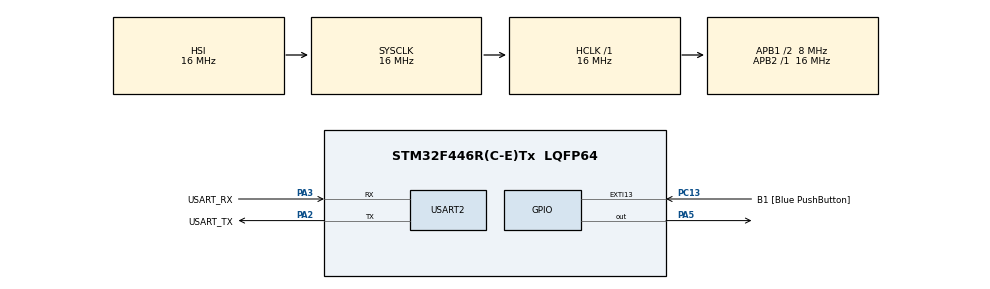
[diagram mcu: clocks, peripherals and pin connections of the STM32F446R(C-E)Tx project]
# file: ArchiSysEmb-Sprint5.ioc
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FREERTOS.Tasks01=defaultTask,0,128,StartDefaultTask,Default,NULL,Dynamic,NULL,NULL;UART_RX,-3,128,uartRx,Default,NULL,Dynamic,NULL,NULL;UART_TX,-3,128,uartTx,Default,NULL,Dynamic,NULL,NULL;MANAGE_LD2,-3,128,manageLD2,Default,NULL,Dynamic,NULL,NULL
FREERTOS.configUSE_NEWLIB_REENTRANT=1
Mcu.Family=STM32F4
Mcu.Name=STM32F446R(C-E)Tx
Mcu.Package=LQFP64
NVIC.PriorityGroup=NVIC_PRIORITYGROUP_4
NVIC.TIM1_UP_TIM10_IRQn=true\:15\:0\:false\:false\:true\:false\:false\:true\:true
NVIC.TIM3_IRQn=true\:5\:0\:false\:false\:true\:true\:true\:true\:true
NVIC.TimeBase=TIM1_UP_TIM10_IRQn
NVIC.TimeBaseIP=TIM1
PA13.GPIO_Label=TMS
PA13.Mode=Serial_Wire
PA13.Signal=SYS_JTMS-SWDIO
PA14.GPIO_Label=TCK
PA14.Mode=Serial_Wire
PA14.Signal=SYS_JTCK-SWCLK
PA2.GPIO_Label=USART_TX
PA2.Mode=Asynchronous
PA2.Signal=USART2_TX
PA3.GPIO_Label=USART_RX
PA3.Mode=Asynchronous
PA3.Signal=USART2_RX
PA5.Signal=GPIO_Output
PA6.Signal=S_TIM3_CH1
PB3.GPIO_Label=SWO
PB3.Signal=SYS_JTDO-SWO
PC13.GPIO_Label=B1 [Blue PushButton]
PC13.GPIO_ModeDefaultEXTI=GPIO_MODE_IT_FALLING
PC13.Signal=GPXTI13
PC14-OSC32_IN.Mode=LSE-External-Oscillator
PC14-OSC32_IN.Signal=RCC_OSC32_IN
PC15-OSC32_OUT.Mode=LSE-External-Oscillator
PC15-OSC32_OUT.Signal=RCC_OSC32_OUT
PH0-OSC_IN.Mode=HSE-External-Oscillator
PH0-OSC_IN.Signal=RCC_OSC_IN
PH1-OSC_OUT.Mode=HSE-External-Oscillator
PH1-OSC_OUT.Signal=RCC_OSC_OUT
ProjectManager.HeapSize=0x200
ProjectManager.StackSize=0x400
ProjectManager.TargetToolchain=STM32CubeIDE
RCC.48MHZClocksFreq_Value=84000000
RCC.AHBFreq_Value=16000000
RCC.APB1CLKDivider=RCC_HCLK_DIV2
RCC.APB1Freq_Value=8000000
RCC.APB1TimFreq_Value=16000000
RCC.APB2Freq_Value=16000000
RCC.APB2TimFreq_Value=16000000
RCC.CortexFreq_Value=16000000
RCC.FLatency-AdvancedSettings=FLASH_LATENCY_0
RCC.HCLKFreq_Value=16000000
RCC.HSE_VALUE=8000000
RCC.HSI_VALUE=16000000
RCC.PLLN=336
RCC.PLLP=RCC_PLLP_DIV4
RCC.SYSCLKFreq_VALUE=16000000
RCC.USBFreq_Value=168000000
RCC.VCOOutputFreq_Value=336000000
SH.S_TIM3_CH1.0=TIM3_CH1
TIM3.Period=9999
TIM3.Prescaler=1599
USART2.VirtualMode=VM_ASYNC
VP_FREERTOS_VS_CMSIS_V1.Mode=CMSIS_V1
VP_SYS_VS_tim1.Mode=TIM1
VP_TIM3_VS_ClockSourceINT.Mode=Internal
board=NUCLEO-F446RE

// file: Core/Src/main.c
/* USER CODE BEGIN Header */
/**
 ******************************************************************************
 * @file           : main.c
 * @brief          : Main program body
 ******************************************************************************
 * @attention
 *
 * Copyright (c) 2022 STMicroelectronics.
 * All rights reserved.
 *
 * This software is licensed under terms that can be found in the LICENSE file
 * in the root directory of this software component.
 * If no LICENSE file comes with this software, it is provided AS-IS.
 *
 ******************************************************************************
 */
/* USER CODE END Header */
#include "main.h"
#include "cmsis_os.h"

/* USER CODE BEGIN Includes */
#include <stdbool.h>

/* USER CODE END Includes */

TIM_HandleTypeDef htim3;

UART_HandleTypeDef huart2;

osThreadId defaultTaskHandle;
osThreadId UART_RXHandle;
osThreadId UART_TXHandle;
osThreadId MANAGE_LD2Handle;

void SystemClock_Config(void);
static void MX_GPIO_Init(void);
static void MX_USART2_UART_Init(void);
static void MX_TIM3_Init(void);
void StartDefaultTask(void const *argument);
void uartRx(void const *argument);
void uartTx(void const *argument);
void manageLD2(void const *argument);

int main(void) {

	/* MCU Configuration--------------------------------------------------------*/

	/* Reset of all peripherals, Initializes the Flash interface and the Systick. */
	HAL_Init();

	/* Configure the system clock */
	SystemClock_Config();

	/* Initialize all configured peripherals */
	MX_GPIO_Init();
	MX_USART2_UART_Init();
	MX_TIM3_Init();

	/* Create the thread(s) */
	/* definition and creation of defaultTask */
	osThreadDef(defaultTask, StartDefaultTask, osPriorityNormal, 0, 128);
	defaultTaskHandle = osThreadCreate(osThread(defaultTask), NULL);

	/* definition and creation of UART_RX */
	osThreadDef(UART_RX, uartRx, osPriorityIdle, 0, 128);
	UART_RXHandle = osThreadCreate(osThread(UART_RX), NULL);

	/* definition and creation of UART_TX */
	osThreadDef(UART_TX, uartTx, osPriorityIdle, 0, 128);
	UART_TXHandle = osThreadCreate(osThread(UART_TX), NULL);

	/* definition and creation of MANAGE_LD2 */
	osThreadDef(MANAGE_LD2, manageLD2, osPriorityIdle, 0, 128);
	MANAGE_LD2Handle = osThreadCreate(osThread(MANAGE_LD2), NULL);

	/* Start scheduler */
	osKernelStart();

	/* We should never get here as control is now taken by the scheduler */
	/* Infinite loop */
	while (1) {

	}
}

void SystemClock_Config(void) {
	RCC_OscInitTypeDef RCC_OscInitStruct = { 0 };
	RCC_ClkInitTypeDef RCC_ClkInitStruct = { 0 };

	/** Configure the main internal regulator output voltage
	 */
	__HAL_RCC_PWR_CLK_ENABLE();
	__HAL_PWR_VOLTAGESCALING_CONFIG(PWR_REGULATOR_VOLTAGE_SCALE3);

	/** Initializes the RCC Oscillators according to the specified parameters
	 * in the RCC_OscInitTypeDef structure.
	 */
	RCC_OscInitStruct.OscillatorType = RCC_OSCILLATORTYPE_HSI;
	RCC_OscInitStruct.HSIState = RCC_HSI_ON;
	RCC_OscInitStruct.HSICalibrationValue = RCC_HSICALIBRATION_DEFAULT;
	RCC_OscInitStruct.PLL.PLLState = RCC_PLL_NONE;
	if (HAL_RCC_OscConfig(&RCC_OscInitStruct) != HAL_OK) {
		Error_Handler();
	}

	/** Initializes the CPU, AHB and APB buses clocks
	 */
	RCC_ClkInitStruct.ClockType = RCC_CLOCKTYPE_HCLK | RCC_CLOCKTYPE_SYSCLK
			| RCC_CLOCKTYPE_PCLK1 | RCC_CLOCKTYPE_PCLK2;
	RCC_ClkInitStruct.SYSCLKSource = RCC_SYSCLKSOURCE_HSI;
	RCC_ClkInitStruct.AHBCLKDivider = RCC_SYSCLK_DIV1;
	RCC_ClkInitStruct.APB1CLKDivider = RCC_HCLK_DIV2;
	RCC_ClkInitStruct.APB2CLKDivider = RCC_HCLK_DIV1;

	if (HAL_RCC_ClockConfig(&RCC_ClkInitStruct, FLASH_LATENCY_0) != HAL_OK) {
		Error_Handler();
	}
}

static void MX_TIM3_Init(void) {

	TIM_ClockConfigTypeDef sClockSourceConfig = { 0 };
	TIM_MasterConfigTypeDef sMasterConfig = { 0 };

	htim3.Instance = TIM3;
	htim3.Init.Prescaler = 1599;
	htim3.Init.CounterMode = TIM_COUNTERMODE_UP;
	htim3.Init.Period = 9999;
	htim3.Init.ClockDivision = TIM_CLOCKDIVISION_DIV1;
	htim3.Init.AutoReloadPreload = TIM_AUTORELOAD_PRELOAD_DISABLE;
	if (HAL_TIM_Base_Init(&htim3) != HAL_OK) {
		Error_Handler();
	}
	sClockSourceConfig.ClockSource = TIM_CLOCKSOURCE_INTERNAL;
	if (HAL_TIM_ConfigClockSource(&htim3, &sClockSourceConfig) != HAL_OK) {
		Error_Handler();
	}
	sMasterConfig.MasterOutputTrigger = TIM_TRGO_RESET;
	sMasterConfig.MasterSlaveMode = TIM_MASTERSLAVEMODE_DISABLE;
	if (HAL_TIMEx_MasterConfigSynchronization(&htim3, &sMasterConfig)
			!= HAL_OK) {
		Error_Handler();
	}

}

static void MX_USART2_UART_Init(void) {

	huart2.Instance = USART2;
	huart2.Init.BaudRate = 115200;
	huart2.Init.WordLength = UART_WORDLENGTH_8B;
	huart2.Init.StopBits = UART_STOPBITS_1;
	huart2.Init.Parity = UART_PARITY_NONE;
	huart2.Init.Mode = UART_MODE_TX_RX;
	huart2.Init.HwFlowCtl = UART_HWCONTROL_NONE;
	huart2.Init.OverSampling = UART_OVERSAMPLING_16;
	if (HAL_UART_Init(&huart2) != HAL_OK) {
		Error_Handler();
	}

}

static void MX_GPIO_Init(void) {
	GPIO_InitTypeDef GPIO_InitStruct = { 0 };

	/* GPIO Ports Clock Enable */
	__HAL_RCC_GPIOC_CLK_ENABLE();
	__HAL_RCC_GPIOH_CLK_ENABLE();
	__HAL_RCC_GPIOA_CLK_ENABLE();
	__HAL_RCC_GPIOB_CLK_ENABLE();

	/*Configure GPIO pin Output Level */
	HAL_GPIO_WritePin(GPIOA, GPIO_PIN_5, GPIO_PIN_RESET);

	/*Configure GPIO pin : B1_Pin */
	GPIO_InitStruct.Pin = B1_Pin;
	GPIO_InitStruct.Mode = GPIO_MODE_IT_FALLING;
	GPIO_InitStruct.Pull = GPIO_NOPULL;
	HAL_GPIO_Init(B1_GPIO_Port, &GPIO_InitStruct);

	/*Configure GPIO pin : PA5 */
	GPIO_InitStruct.Pin = GPIO_PIN_5;
	GPIO_InitStruct.Mode = GPIO_MODE_OUTPUT_PP;
	GPIO_InitStruct.Pull = GPIO_NOPULL;
	GPIO_InitStruct.Speed = GPIO_SPEED_FREQ_LOW;
	HAL_GPIO_Init(GPIOA, &GPIO_InitStruct);

}

void StartDefaultTask(void const *argument) {
	for (;;) {
		osDelay(1);
	}
}

void uartRx(void const *argument) {
	for (;;) {
		osDelay(1);
	}
}

void uartTx(void const *argument) {
	for (;;) {
		osDelay(1);
	}
}

void manageLD2(void const *argument) {
	/* USER CODE BEGIN manageLD2 */

	bool buttonPressed = false;
	LEDState state = LED_STATE_OFF;

	/* Infinite loop */
	for (;;) {
		if (HAL_GPIO_ReadPin(B1_GPIO_Port, B1_Pin) == GPIO_PIN_RESET) {
			if (buttonPressed == false) {
				buttonPressed = true;
				state = LED_STATE_NEXT(state);
				HAL_TIM_Base_Stop_IT(&htim3);

				switch (state) {

				case LED_STATE_BLINKING:
					HAL_TIM_Base_Start_IT(&htim3);
					// carry over

				case LED_STATE_OFF:
					HAL_GPIO_WritePin(GPIOA, GPIO_PIN_5, GPIO_PIN_RESET);
					break;

				case LED_STATE_ON:
					HAL_GPIO_WritePin(GPIOA, GPIO_PIN_5, GPIO_PIN_SET);
					break;
				}
			}
		} else {
			buttonPressed = false;
		}

		osDelay(1);
	}
	/* USER CODE END manageLD2 */
}

void HAL_TIM_PeriodElapsedCallback(TIM_HandleTypeDef *htim) {
	if (htim->Instance == TIM1) {
		HAL_IncTick();
	}
	/* USER CODE BEGIN Callback 1 */
	if (htim == &htim3) {
		HAL_GPIO_TogglePin(GPIOA, GPIO_PIN_5);
	}
	/* USER CODE END Callback 1 */
}

void Error_Handler(void) {
	__disable_irq();
	while (1) {
	}
}
